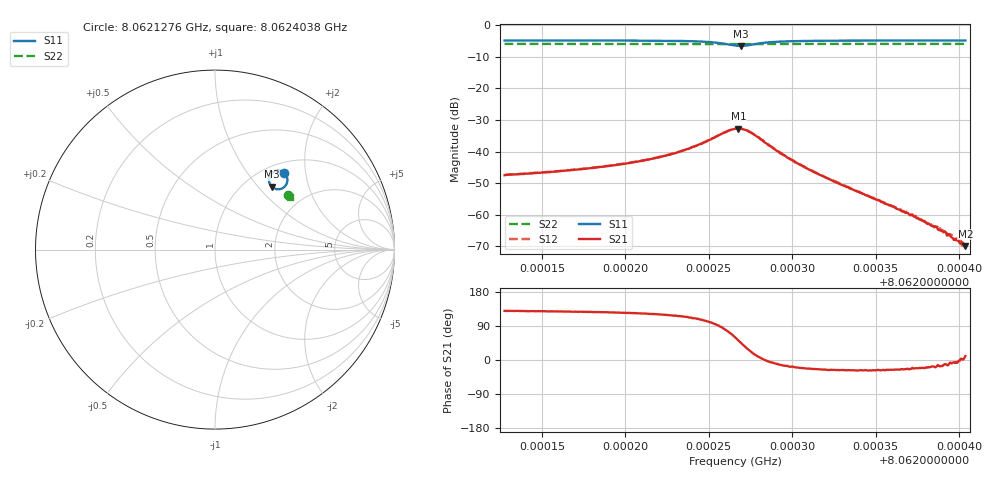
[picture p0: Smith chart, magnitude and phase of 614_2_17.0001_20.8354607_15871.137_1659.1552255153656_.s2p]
#  HZ  S  RI  R  50.00
! Rohde & Schwarz Vector Network Analyzer
! Rohde-Schwarz,ZNB20-2Port,1311601062101988,3.16
! Created: UTC 3/20/2024, 11:19:39 PM
! freq[Hz]  re:S11  im:S11  re:S21  im:S21  re:S12  im:S12  re:S22  im:S22
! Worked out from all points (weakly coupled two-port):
!   401 points, 8.0621276 GHz to 8.0624038 GHz, reference 50 ohm
!   highest |S21| = -32.69 dB at 8.0622678 GHz (marker M1); lowest = -69.9 dB at 8.0624038 GHz (marker M2)
!   lowest |S11| = -6.5 dB at 8.0622692 GHz (marker M3), VSWR 2.79, Z = 65.9 + j59.4 ohm
!   |S11| at or under -10 dB: nowhere
!   |S22| runs from -6.0 to -5.9 dB; largest |S21 - S12| = 0.0014
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8.0621276e9  0.3861 0.4273  -0.0027 0.00325  -0.00256 0.00348  0.4069 0.3044
8.06217386e9  0.3916 0.421  -0.0032 0.0042  -0.00299 0.00444  0.4086 0.302
8.06220149e9  0.396 0.4146  -0.00369 0.00542  -0.00338 0.00566  0.4096 0.3003
8.06222013e9  0.4 0.4067  -0.00413 0.00704  -0.00375 0.00736  0.4102 0.299
8.06223463e9  0.4029 0.395  -0.00446 0.00948  -0.0038 0.00976  0.4108 0.2976
8.0622519e9  0.398 0.3643  -0.00232 0.0159  -0.00116 0.016  0.4107 0.2956
8.06226156e9  0.3661 0.3381  0.00548 0.0206  0.0067 0.0203  0.4093 0.2943
8.06226571e9  0.339 0.3377  0.0115 0.0201  0.0126 0.0194  0.4082 0.2946
8.06226778e9  0.3247 0.3438  0.0144 0.0182  0.0155 0.0174  0.4077 0.295
8.06226916e9  0.3163 0.3503  0.0161 0.0164  0.017 0.0159  0.4076 0.2953
8.06227537e9  0.3006 0.3904  0.0185 0.0073  0.0191 0.00629  0.4075 0.2968
8.06228504e9  0.3208 0.4284  0.0131 -0.000553  0.0133 -0.0014  0.4093 0.2979
8.06229609e9  0.3435 0.4383  0.00813 -0.00229  0.00793 -0.00273  0.4108 0.2974
8.06231197e9  0.3608 0.4384  0.00449 -0.00197  0.00445 -0.00228  0.412 0.2965
8.06232578e9  0.3688 0.4364  0.00297 -0.00146  0.00296 -0.00169  0.4127 0.2957
8.06235824e9  0.3787 0.4319  0.00127 -0.000605  0.00125 -0.000714  0.4142 0.2937
8.06237274e9  0.3814 0.4304  0.000875 -0.000361  0.000871 -0.0004  0.4148 0.2929
8.06238586e9  0.3834 0.4288  0.000615 -0.000216  0.000609 -0.000245  0.4153 0.292
8.06239277e9  0.3844 0.4283  0.000457 -0.000107  0.000485 -0.000145  0.4155 0.2919
8.06239967e9  0.3852 0.4276  0.00039 -1.59e-05  0.000391 -4.82e-05  0.4158 0.2914
8.06240175e9  0.3855 0.4276  0.000369 1.13e-05  0.000327 -2.62e-05  0.4159 0.2913
8.06240382e9  0.3857 0.4275  0.000316 5.83e-05  0.000344 -1.24e-05  0.416 0.2912
